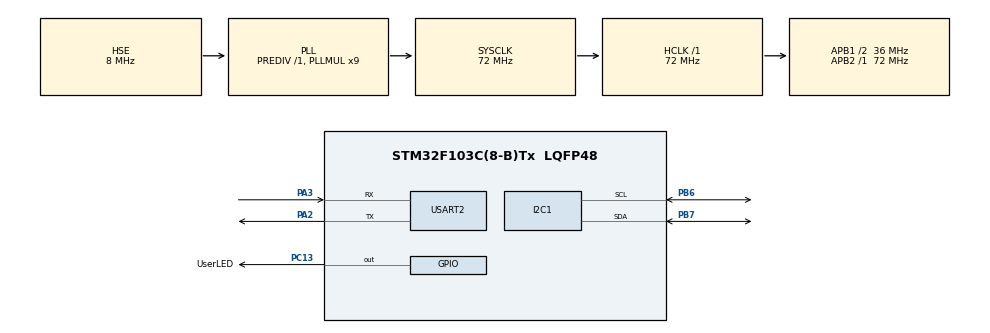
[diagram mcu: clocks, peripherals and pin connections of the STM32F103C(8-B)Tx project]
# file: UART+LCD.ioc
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Mcu.Family=STM32F1
Mcu.Name=STM32F103C(8-B)Tx
Mcu.Package=LQFP48
NVIC.PriorityGroup=NVIC_PRIORITYGROUP_4
PA13.Mode=Serial_Wire
PA13.Signal=SYS_JTMS-SWDIO
PA14.Mode=Serial_Wire
PA14.Signal=SYS_JTCK-SWCLK
PA2.Mode=Asynchronous
PA2.Signal=USART2_TX
PA3.Mode=Asynchronous
PA3.Signal=USART2_RX
PB6.Mode=I2C
PB6.Signal=I2C1_SCL
PB7.Mode=I2C
PB7.Signal=I2C1_SDA
PC13-TAMPER-RTC.GPIO_Label=UserLED
PC13-TAMPER-RTC.PinState=GPIO_PIN_SET
PC13-TAMPER-RTC.Signal=GPIO_Output
PD0-OSC_IN.Mode=HSE-External-Oscillator
PD0-OSC_IN.Signal=RCC_OSC_IN
PD1-OSC_OUT.Mode=HSE-External-Oscillator
PD1-OSC_OUT.Signal=RCC_OSC_OUT
ProjectManager.HeapSize=0x200
ProjectManager.StackSize=0x400
RCC.AHBFreq_Value=72000000
RCC.APB1CLKDivider=RCC_HCLK_DIV2
RCC.APB1Freq_Value=36000000
RCC.APB1TimFreq_Value=72000000
RCC.APB2Freq_Value=72000000
RCC.APB2TimFreq_Value=72000000
RCC.HCLKFreq_Value=72000000
RCC.PLLMUL=RCC_PLL_MUL9
RCC.PLLSourceVirtual=RCC_PLLSOURCE_HSE
RCC.SYSCLKFreq_VALUE=72000000
RCC.SYSCLKSource=RCC_SYSCLKSOURCE_PLLCLK
RCC.USBFreq_Value=72000000
USART2.VirtualMode=VM_ASYNC
board=UART+LCD

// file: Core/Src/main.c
/**
  ******************************************************************************
  * File Name          : main.c
  * Description        : Main program body
  ******************************************************************************
  ** This notice applies to any and all portions of this file
  * that are not between comment pairs USER CODE BEGIN and
  * USER CODE END. Other portions of this file, whether
  * inserted by the user or by software development tools
  * are owned by their respective copyright owners.
  *
  * COPYRIGHT(c) 2017 STMicroelectronics
  *
  * Redistribution and use in source and binary forms, with or without modification,
  * are permitted provided that the following conditions are met:
  *   1. Redistributions of source code must retain the above copyright notice,
  *      this list of conditions and the following disclaimer.
  *   2. Redistributions in binary form must reproduce the above copyright notice,
  *      this list of conditions and the following disclaimer in the documentation
  *      and/or other materials provided with the distribution.
  *   3. Neither the name of STMicroelectronics nor the names of its contributors
  *      may be used to endorse or promote products derived from this software
  *      without specific prior written permission.
  *
  * THIS SOFTWARE IS PROVIDED BY THE COPYRIGHT HOLDERS AND CONTRIBUTORS "AS IS"
  * AND ANY EXPRESS OR IMPLIED WARRANTIES, INCLUDING, BUT NOT LIMITED TO, THE
  * IMPLIED WARRANTIES OF MERCHANTABILITY AND FITNESS FOR A PARTICULAR PURPOSE ARE
  * DISCLAIMED. IN NO EVENT SHALL THE COPYRIGHT HOLDER OR CONTRIBUTORS BE LIABLE
  * FOR ANY DIRECT, INDIRECT, INCIDENTAL, SPECIAL, EXEMPLARY, OR CONSEQUENTIAL
  * DAMAGES (INCLUDING, BUT NOT LIMITED TO, PROCUREMENT OF SUBSTITUTE GOODS OR
  * SERVICES; LOSS OF USE, DATA, OR PROFITS; OR BUSINESS INTERRUPTION) HOWEVER
  * CAUSED AND ON ANY THEORY OF LIABILITY, WHETHER IN CONTRACT, STRICT LIABILITY,
  * OR TORT (INCLUDING NEGLIGENCE OR OTHERWISE) ARISING IN ANY WAY OUT OF THE USE
  * OF THIS SOFTWARE, EVEN IF ADVISED OF THE POSSIBILITY OF SUCH DAMAGE.
  *
  ******************************************************************************
  */
#include "main.h"
#include "stm32f1xx_hal.h"

/* USER CODE BEGIN Includes */

#include "string.h"
#include "hd44780.h"
#include "JSB_stm32f1xx.h"

/* USER CODE END Includes */

I2C_HandleTypeDef hi2c1;

UART_HandleTypeDef huart2;

/* USER CODE BEGIN PV */
/* Private variables ---------------------------------------------------------*/

LCD_PCF8574_HandleTypeDef LCD;

/* USER CODE END PV */

void SystemClock_Config(void);
static void MX_GPIO_Init(void);
static void MX_USART2_UART_Init(void);
static void MX_I2C1_Init(void);

/* USER CODE BEGIN PFP */
/* Private function prototypes -----------------------------------------------*/

/* USER CODE END PFP */

/* USER CODE BEGIN 0 */

void UART_Send(char *p)
{
  HAL_UART_Transmit(&huart2, (uint8_t *) p, strlen(p), 0xFFFF);
}

/* USER CODE END 0 */

int main(void)
{

  /* MCU Configuration----------------------------------------------------------*/

  /* Reset of all peripherals, Initializes the Flash interface and the Systick. */
  HAL_Init();

  /* Configure the system clock */
  SystemClock_Config();

  /* Initialize all configured peripherals */
  MX_GPIO_Init();
  MX_USART2_UART_Init();
  MX_I2C1_Init();

  /* USER CODE BEGIN 2 */

  /* Initialize LCD */
  LCD.pcf8574.PCF_I2C_ADDRESS = 0x3F; // Depends on display.
  LCD.pcf8574.PCF_I2C_TIMEOUT = 1000;
  LCD.pcf8574.pI2C = &hi2c1;
  LCD.NUMBER_OF_LINES = NUMBER_OF_LINES_2;
  LCD.type = TYPE0;
  //
  if (LCD_Init(&LCD) != LCD_OK)
    Error_Handler();

  LCD_ClearDisplay(&LCD);

  LCD_SetLocation(&LCD, 0, 0);
  LCD_WriteString(&LCD, "pi:");
  //
  LCD_SetLocation(&LCD, 6, 0);
  LCD_WriteFloat(&LCD, 3.1415926, 7);
  //
  LCD_SetLocation(&LCD, 0, 1);
  LCD_WriteString(&LCD, "e:");
  //
  LCD_SetLocation(&LCD, 6, 1);
  LCD_WriteFloat(&LCD, 2.71828, 5);

  /* USER CODE END 2 */

  /* Infinite loop */
  while (1)
  {

  /* USER CODE BEGIN 3 */
    UART_Send("ABCDE\n");

    HAL_GPIO_WritePin(UserLED_GPIO_Port, UserLED_Pin, GPIO_PIN_RESET); // On.
    HAL_Delay(700);
    HAL_GPIO_WritePin(UserLED_GPIO_Port, UserLED_Pin, GPIO_PIN_SET); // On.
    HAL_Delay(300);
  }
  /* USER CODE END 3 */

}

/** System Clock Configuration
*/
void SystemClock_Config(void)
{

  RCC_OscInitTypeDef RCC_OscInitStruct;
  RCC_ClkInitTypeDef RCC_ClkInitStruct;

    /**Initializes the CPU, AHB and APB busses clocks
    */
  RCC_OscInitStruct.OscillatorType = RCC_OSCILLATORTYPE_HSE;
  RCC_OscInitStruct.HSEState = RCC_HSE_ON;
  RCC_OscInitStruct.HSEPredivValue = RCC_HSE_PREDIV_DIV1;
  RCC_OscInitStruct.HSIState = RCC_HSI_ON;
  RCC_OscInitStruct.PLL.PLLState = RCC_PLL_ON;
  RCC_OscInitStruct.PLL.PLLSource = RCC_PLLSOURCE_HSE;
  RCC_OscInitStruct.PLL.PLLMUL = RCC_PLL_MUL9;
  if (HAL_RCC_OscConfig(&RCC_OscInitStruct) != HAL_OK)
  {
    _Error_Handler(__FILE__, __LINE__);
  }

    /**Initializes the CPU, AHB and APB busses clocks
    */
  RCC_ClkInitStruct.ClockType = RCC_CLOCKTYPE_HCLK|RCC_CLOCKTYPE_SYSCLK
                              |RCC_CLOCKTYPE_PCLK1|RCC_CLOCKTYPE_PCLK2;
  RCC_ClkInitStruct.SYSCLKSource = RCC_SYSCLKSOURCE_PLLCLK;
  RCC_ClkInitStruct.AHBCLKDivider = RCC_SYSCLK_DIV1;
  RCC_ClkInitStruct.APB1CLKDivider = RCC_HCLK_DIV2;
  RCC_ClkInitStruct.APB2CLKDivider = RCC_HCLK_DIV1;

  if (HAL_RCC_ClockConfig(&RCC_ClkInitStruct, FLASH_LATENCY_2) != HAL_OK)
  {
    _Error_Handler(__FILE__, __LINE__);
  }

    /**Configure the Systick interrupt time
    */
  HAL_SYSTICK_Config(HAL_RCC_GetHCLKFreq()/1000);

    /**Configure the Systick
    */
  HAL_SYSTICK_CLKSourceConfig(SYSTICK_CLKSOURCE_HCLK);

  /* SysTick_IRQn interrupt configuration */
  HAL_NVIC_SetPriority(SysTick_IRQn, 0, 0);
}

/* I2C1 init function */
static void MX_I2C1_Init(void)
{

  hi2c1.Instance = I2C1;
  hi2c1.Init.ClockSpeed = 100000;
  hi2c1.Init.DutyCycle = I2C_DUTYCYCLE_2;
  hi2c1.Init.OwnAddress1 = 0;
  hi2c1.Init.AddressingMode = I2C_ADDRESSINGMODE_7BIT;
  hi2c1.Init.DualAddressMode = I2C_DUALADDRESS_DISABLE;
  hi2c1.Init.OwnAddress2 = 0;
  hi2c1.Init.GeneralCallMode = I2C_GENERALCALL_DISABLE;
  hi2c1.Init.NoStretchMode = I2C_NOSTRETCH_DISABLE;
  if (HAL_I2C_Init(&hi2c1) != HAL_OK)
  {
    _Error_Handler(__FILE__, __LINE__);
  }

}

/* USART2 init function */
static void MX_USART2_UART_Init(void)
{

  huart2.Instance = USART2;
  huart2.Init.BaudRate = 115200;
  huart2.Init.WordLength = UART_WORDLENGTH_8B;
  huart2.Init.StopBits = UART_STOPBITS_1;
  huart2.Init.Parity = UART_PARITY_NONE;
  huart2.Init.Mode = UART_MODE_TX_RX;
  huart2.Init.HwFlowCtl = UART_HWCONTROL_NONE;
  huart2.Init.OverSampling = UART_OVERSAMPLING_16;
  if (HAL_UART_Init(&huart2) != HAL_OK)
  {
    _Error_Handler(__FILE__, __LINE__);
  }

}

/** Configure pins as
        * Analog
        * Input
        * Output
        * EVENT_OUT
        * EXTI
*/
static void MX_GPIO_Init(void)
{

  GPIO_InitTypeDef GPIO_InitStruct;

  /* GPIO Ports Clock Enable */
  __HAL_RCC_GPIOC_CLK_ENABLE();
  __HAL_RCC_GPIOD_CLK_ENABLE();
  __HAL_RCC_GPIOA_CLK_ENABLE();
  __HAL_RCC_GPIOB_CLK_ENABLE();

  /*Configure GPIO pin Output Level */
  HAL_GPIO_WritePin(UserLED_GPIO_Port, UserLED_Pin, GPIO_PIN_SET);

  /*Configure GPIO pin : UserLED_Pin */
  GPIO_InitStruct.Pin = UserLED_Pin;
  GPIO_InitStruct.Mode = GPIO_MODE_OUTPUT_PP;
  GPIO_InitStruct.Speed = GPIO_SPEED_FREQ_LOW;
  HAL_GPIO_Init(UserLED_GPIO_Port, &GPIO_InitStruct);

}

void _Error_Handler(char * file, int line)
{
  /* USER CODE BEGIN Error_Handler_Debug */
  JSB_ErrorHandler();
  /* USER CODE END Error_Handler_Debug */
}

/************************ (C) COPYRIGHT STMicroelectronics *****END OF FILE****/
